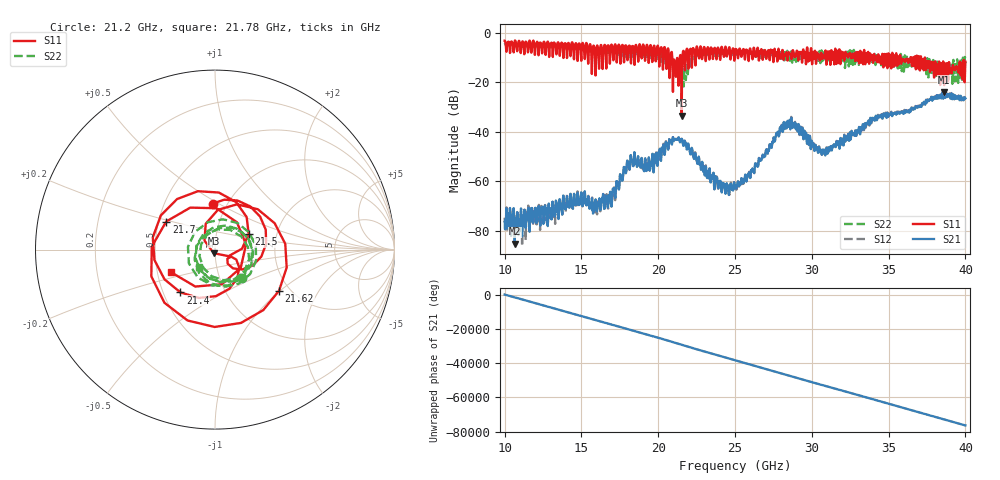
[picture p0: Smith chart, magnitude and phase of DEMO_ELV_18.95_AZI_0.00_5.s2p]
! 11/3/2026 12:48:20 PM
! C:\ANRITSUVNA\TEMP\TEMP.S2P
! CHANNEL.1
! TR.MEASUREMENT
! RAW.DATA
# HZ S RI R 50.0
! FREQ.HZ  S11RE  S11IM  S21RE  S21IM  S12RE  S12IM  S22RE  S22IM
!; PortSelection: Port_12
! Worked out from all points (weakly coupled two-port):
!   3001 points, 10 GHz to 40 GHz, reference 50 ohm
!   highest |S21| = -23.93 dB at 38.62 GHz (marker M1); lowest = -85.1 dB at 10.66 GHz (marker M2)
!   lowest |S11| = -33.5 dB at 21.53 GHz (marker M3), VSWR 1.04, Z = 49.3 - j1.96 ohm
!   |S11| at or under -10 dB: 20.92 GHz to 21.4 GHz (489.8 MHz wide, 2.31 % of centre); 35.78 GHz to 36.44 GHz (663.3 MHz wide, 1.84 % of centre); 37.37 GHz to end of sweep (the widest 3 of 115)
!   |S22| runs from -21.7 to -4.5 dB; largest |S21 - S12| = 0.079
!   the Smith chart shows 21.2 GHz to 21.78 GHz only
!   S11 on the Smith chart (normalised r, x): 21.2 GHz: 0.85, +0.47; 21.4 GHz: 0.61, -0.32; 21.5 GHz: 1.44, +0.26; 21.62 GHz: 1.76, -0.98; 21.7 GHz: 0.55, +0.19; 21.78 GHz: 0.59, -0.16
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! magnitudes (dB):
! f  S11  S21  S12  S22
! 10 GHz  -3.2  -76.3  -74.6  -4.7
! 10.66 GHz  -3.3  -85.1  -78.9  -5.0
! 15 GHz  -10.2  -64.6  -64.6  -6.5
! 16.84 GHz  -11.3  -66.0  -66.6  -7.1
! 18.11 GHz  -5.2  -53.7  -54.0  -8.2
! 20 GHz  -5.7  -49.2  -49.2  -7.8
! 21.2 GHz  -11.8  -43.0  -43.1  -13.2
! 21.4 GHz  -10.3  -43.9  -43.8  -20.1
! 21.5 GHz  -13.7  -43.0  -42.9  -17.0
! 21.53 GHz  -33.5  -42.8  -42.8  -19.3
! 21.62 GHz  -7.5  -45.2  -45.0  -15.0
! 21.7 GHz  -10.1  -43.9  -43.8  -14.9
! 21.78 GHz  -11.2  -44.4  -44.4  -17.4
! 22.69 GHz  -8.9  -52.7  -52.8  -8.0
! 24.02 GHz  -10.0  -60.8  -61.3  -9.1
! 25 GHz  -7.5  -62.1  -62.1  -8.3
! 28.3 GHz  -8.4  -36.2  -35.9  -8.8
! 30 GHz  -10.6  -43.6  -43.7  -8.0
! 30.77 GHz  -9.4  -48.6  -48.5  -8.4
! 35 GHz  -8.5  -33.4  -33.3  -11.0
! 38.62 GHz  -21.1  -23.9  -23.8  -16.7
! 40 GHz  -11.6  -26.5  -26.5  -12.3
